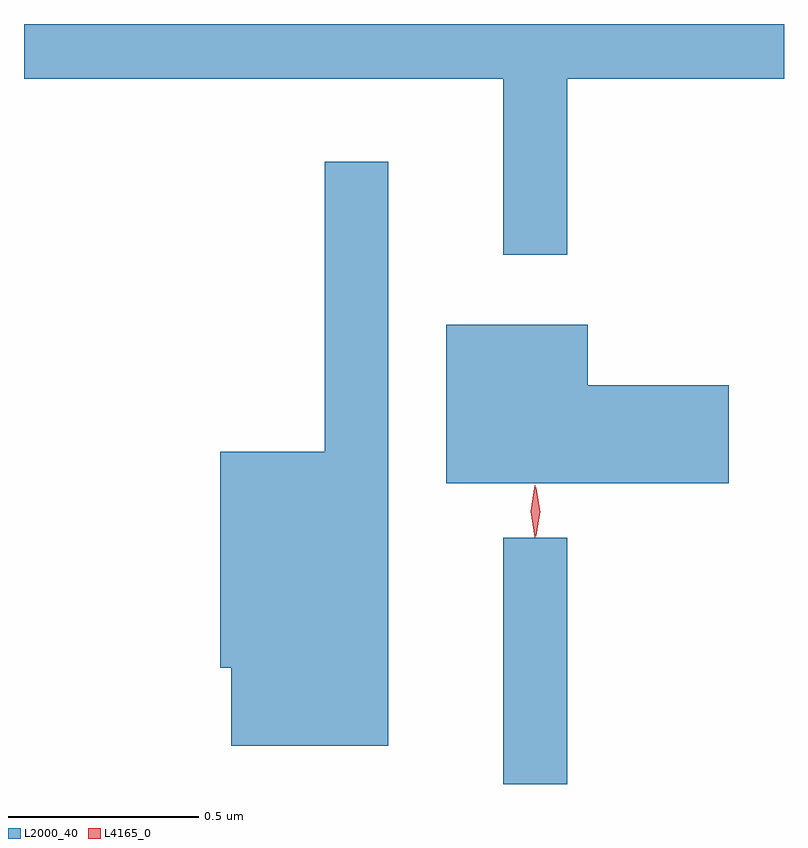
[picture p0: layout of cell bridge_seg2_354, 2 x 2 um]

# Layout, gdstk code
import gdstk
lib = gdstk.Library(unit=1e-6, precision=1e-09)
def R(c, l, rs):  # rectangles x0, y0, x1, y1
    for r in rs: c.add(gdstk.rectangle(r[:2], r[2:], *l))
def P(c, l, *ps):  # polygons
    for p in ps: c.add(gdstk.Polygon(p, *l))
L2000_40 = (2000, 40)
L4165_0 = (4165, 0)

bridge_seg2_354 = lib.new_cell('bridge_seg2_354')
R(bridge_seg2_354, L2000_40, [(440.601,990.96,440.769,991.608)])
P(bridge_seg2_354, L2000_40, [(440.769,992.816),(441.34,992.816),(441.34,992.96),(439.34,992.96),(439.34,992.816),(440.601,992.816),(440.601,992.353),(440.769,992.353)],
  [(440.299,992.598),(440.131,992.598),(440.131,991.834),(439.856,991.834),(439.856,991.266),(439.886,991.266),(439.886,991.061),(440.299,991.061)],
  [(441.194,992.009),(440.824,992.009),(440.824,992.169),(440.451,992.169),(440.451,991.751),(441.194,991.751)])
P(bridge_seg2_354, L4165_0, [(440.684,991.61),(440.684,991.61),(440.674,991.678),(440.684,991.746),(440.684,991.746),(440.685,991.746),(440.694,991.678),(440.685,991.61)],
  [(440.687,991.613),(440.678,991.676),(440.687,991.739),(440.688,991.74),(440.688,991.739),(440.698,991.676),(440.688,991.613),(440.688,991.613)])

lib.write_gds('bridge_seg2_354.gds')
